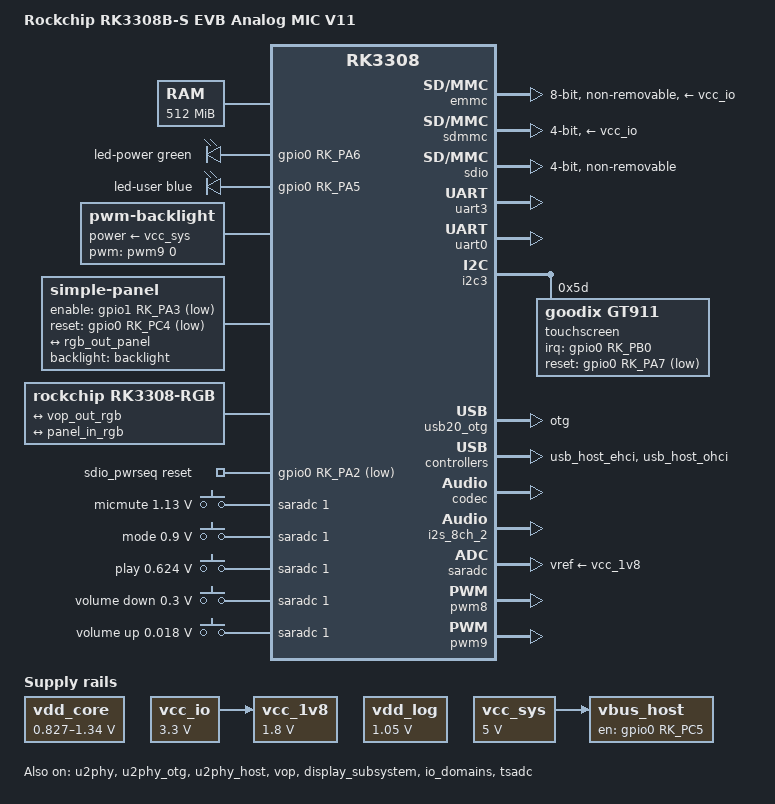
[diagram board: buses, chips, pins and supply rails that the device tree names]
// SPDX-License-Identifier: (GPL-2.0+ OR MIT)
/*
 * Device Tree Source for Rockchip RK3308B-S EVB Analog MIC V11
 *
 * Board connectors (as described by the owner):
 *   ┌─────────────────────────────────────────────────────────────────┐
 *   │  USB Type-C OTG    → ff400000 dwc2,  dr_mode = "otg"           │
 *   │  2× USB-A 5V host  → ff440000 EHCI + ff450000 OHCI             │
 *   │                      VBUS enable: GPIO0_C5 (active-high)        │
 *   │  24V power input   → external buck converter, no DTS needed     │
 *   │  LED +/−           → GPIO0_A6 (green/power), GPIO0_A5 (blue)   │
 *   │  3-pin RGB         → placeholder: see commented section below   │
 *   │  Serial + jumper   → UART3 @ 1500000 baud (ttyS3), OTG jumper  │
 *   │                      switches USB-C between ADB and serial mode  │
 *   │  40-pin FPC        → 4.3″ 480×272 RGB LCD via VOP               │
 *   │  FPC (remote)      → Goodix GT911 capacitive touch on I2C3      │
 *   │  microSD slot      → ff480000 SDMMC                             │
 *   └─────────────────────────────────────────────────────────────────┘
 *
 * GPIO CONFLICT NOTES (from factory DTS analysis):
 *   GPIO0_A2 is shared between WiFi reset (sdio-pwrseq) AND the
 *   headphone amp control (acodec hp-ctl-gpios) in the OEM firmware.
 *   This DTS disables hp-ctl-gpios to avoid the conflict; if you do
 *   not use WiFi, you can re-enable it.
 *
 *   GPIO0_A5 is shared between the blue heartbeat LED AND the speaker
 *   control (acodec spk-ctl-gpios). Speaker control is commented out
 *   below — enable it only if you remove the heartbeat LED trigger.
 */

/dts-v1/;
#include "rk3308.dtsi"
#include <dt-bindings/gpio/gpio.h>
#include <dt-bindings/input/linux-event-codes.h>
#include <dt-bindings/leds/common.h>
#include <dt-bindings/pinctrl/rockchip.h>
#include <dt-bindings/pwm/pwm.h>

/ {
	model = "Rockchip RK3308B-S EVB Analog MIC V11";
	compatible = "rockchip,rk3308bs-evb-amic-v11", "rockchip,rk3308";

	aliases {
		ethernet0 = &gmac;
		mmc0      = &emmc;
		mmc1      = &sdmmc;
		mmc2      = &sdio;
		serial0   = &uart0;
		serial1   = &uart1;
		serial2   = &uart2;
		serial3   = &uart3;
		serial4   = &uart4;
	};

	chosen {
		/*
		 * UART3 is the hardware debug serial port.
		 * The board has a jumper to switch this connector between
		 * normal serial (this stdout) and USB OTG mode.
		 */
		stdout-path = "serial3:1500000n8";
		bootargs = "earlycon=uart8250,mmio32,0xff0d0000 console=ttyS3,1500000n8 root=PARTUUID=614e0000-0000-4b53-8000-1d28000054a9 rootfstype=ext4 rw rootwait";
	};

	memory@0 {
		device_type = "memory";
		/*
		 * 512 MB — U-Boot/ATF will override this at boot time via
		 * FDT fixup, but a sane default is required by some paths.
		 * Change to 0x10000000 for 256 MB or 0x40000000 for 1 GB.
		 */
		reg = <0x00000000 0x00000000 0x00000000 0x20000000>;
	};

	/* ── CPU core voltage (PWM8 @ ff180000, inverted, 827–1340 mV) ── */
	vdd_core: vdd-core {
		compatible = "pwm-regulator";
		pwms = <&pwm8 0 5000 PWM_POLARITY_INVERTED>;
		regulator-name = "vdd_core";
		regulator-min-microvolt = <827000>;
		regulator-max-microvolt = <1340000>;
		regulator-init-microvolt = <1015000>;
		regulator-always-on;
		regulator-boot-on;
		regulator-settling-time-up-us = <250>;
	};

	/* ── Fixed voltage rails ──────────────────────────────────────── */
	vcc_io: vcc-io {
		compatible = "regulator-fixed";
		regulator-name = "vcc_io";
		regulator-always-on;
		regulator-boot-on;
		regulator-min-microvolt = <3300000>;
		regulator-max-microvolt = <3300000>;
	};

	vcc_1v8: vcc-1v8 {
		compatible = "regulator-fixed";
		regulator-name = "vcc_1v8";
		regulator-always-on;
		regulator-boot-on;
		regulator-min-microvolt = <1800000>;
		regulator-max-microvolt = <1800000>;
		vin-supply = <&vcc_io>;
	};

	vdd_log: vdd-log {
		compatible = "regulator-fixed";
		regulator-name = "vdd_log";
		regulator-always-on;
		regulator-boot-on;
		regulator-min-microvolt = <1050000>;
		regulator-max-microvolt = <1050000>;
	};

	vcc_sys: vcc-sys {
		compatible = "regulator-fixed";
		regulator-name = "vcc_sys";
		regulator-always-on;
		regulator-boot-on;
		regulator-min-microvolt = <5000000>;
		regulator-max-microvolt = <5000000>;
	};

	/* ── USB Host VBUS (GPIO0_C5, active-high) ──────────────────── */
	vbus_host: vbus-host {
		compatible = "regulator-fixed";
		enable-active-high;
		gpio = <&gpio0 RK_PC5 GPIO_ACTIVE_HIGH>;
		pinctrl-names = "default";
		pinctrl-0 = <&usb_drv>;
		vin-supply = <&vcc_sys>;
		regulator-name = "vbus_host";
		regulator-boot-on;
	};

	/* ── Onboard GPIO LEDs ────────────────────────────────────────── */
	/*
	 * Physical LED +/− connector on the board routes to these same GPIOs.
	 * NOTE: GPIO0_A5 (blue) is shared with the acodec speaker control in
	 * the OEM firmware. See spk-ctl-gpios comment in the &acodec section.
	 */
	leds: leds {
		compatible = "gpio-leds";
		pinctrl-names = "default";
		pinctrl-0 = <&led_green_gpio>, <&led_blue_gpio>;

		led-power {
			color = <LED_COLOR_ID_GREEN>;
			function = LED_FUNCTION_POWER;
			gpios = <&gpio0 RK_PA6 GPIO_ACTIVE_HIGH>;
			linux,default-trigger = "default-on";
			default-state = "on";
		};

		led-user {
			color = <LED_COLOR_ID_BLUE>;
			function = LED_FUNCTION_HEARTBEAT;
			gpios = <&gpio0 RK_PA5 GPIO_ACTIVE_HIGH>;
			linux,default-trigger = "heartbeat";
		};
	};

	/*
	 * ── 3-pin RGB connector placeholder ──────────────────────────────
	 *
	 * The board has a 3-pin RGB LED header. Three options:
	 *
	 * Option A — PWM-driven common-cathode RGB (PWM4/5/6 on GPIO0_A1,
	 *            GPIO0_B1, GPIO0_B2 respectively). Uncomment & enable the
	 *            matching &pwm4/5/6 nodes at the bottom of this file.
	 *
	 * rgb_leds: rgb-leds {
	 *     compatible = "pwm-leds";
	 *     led-red {
	 *         pwms = <&pwm4 0 10000 0>;
	 *         max-brightness = <255>;
	 *         color = <LED_COLOR_ID_RED>;
	 *     };
	 *     led-green {
	 *         pwms = <&pwm5 0 10000 0>;
	 *         max-brightness = <255>;
	 *         color = <LED_COLOR_ID_GREEN>;
	 *     };
	 *     led-blue {
	 *         pwms = <&pwm6 0 10000 0>;
	 *         max-brightness = <255>;
	 *         color = <LED_COLOR_ID_BLUE>;
	 *     };
	 * };
	 *
	 * Option B — WS2812/NeoPixel single-wire (needs SPI or dedicated driver).
	 * Option C — GPIO-only (add to gpio-leds above).
	 */

	/* ── LCD backlight (PWM9 @ ff180010) ─────────────────────────── */
	backlight: backlight {
		compatible = "pwm-backlight";
		pwms = <&pwm9 0 25000 0>;
		brightness-levels = <0 255>;
		num-interpolated-steps = <255>;
		default-brightness-level = <200>;
		power-supply = <&vcc_sys>;
	};

	/*
	 * ── 40-pin FPC: 4.3-inch 480×272 RGB LCD ──────────────────────
	 * Timings derived from factory DTS "timing3" (native-mode).
	 * enable-gpios: GPIO1_A3 active-low (PCB inverter on enable line)
	 * reset-gpios:  GPIO0_C4 active-low  (standard RST# active-low)
	 */
	panel: panel {
		compatible = "simple-panel";
		bus-format = <0x100a>;		/* MEDIA_BUS_FMT_RGB888_1X24 */
		backlight = <&backlight>;
		enable-gpios = <&gpio1 RK_PA3 GPIO_ACTIVE_LOW>;
		enable-delay-ms = <20>;
		reset-gpios = <&gpio0 RK_PC4 GPIO_ACTIVE_LOW>;
		reset-delay-ms = <10>;
		status = "okay";

		display-timings {
			native-mode = <&timing_4_3>;

			/* 4.3-inch 480×272 @ ~9 MHz — from factory DTS timing3 */
			timing_4_3: timing0 {
				clock-frequency = <9000000>;
				hactive      = <480>;
				vactive      = <272>;
				hback-porch  = <43>;
				hfront-porch = <8>;
				vback-porch  = <12>;
				vfront-porch = <8>;
				hsync-len    = <4>;
				vsync-len    = <4>;
				hsync-active    = <1>;
				vsync-active    = <1>;
				de-active       = <1>;
				pixelclk-active = <1>;
			};
		};

		port {
			panel_in_rgb: endpoint {
				remote-endpoint = <&rgb_out_panel>;
			};
		};
	};

	/*
	 * Internal RGB/LCDC output bridge (rockchip,rk3308-rgb).
	 * The active rk3308.dtsi does not define an `rgb` label, so this node
	 * must be declared inline for vop -> rgb -> panel routing.
	 */
	rgb: rgb {
		compatible = "rockchip,rk3308-rgb";
		status = "okay";
		pinctrl-names = "default";
		pinctrl-0 = <&lcdc_ctl>, <&lcdc_rgb888_m0>;

		ports {
			#address-cells = <1>;
			#size-cells = <0>;

			port@0 {
				reg = <0>;
				#address-cells = <1>;
				#size-cells = <0>;

				rgb_in_vop: endpoint@0 {
					reg = <0>;
					remote-endpoint = <&vop_out_rgb>;
				};
			};

			port@1 {
				reg = <1>;

				rgb_out_panel: endpoint {
					remote-endpoint = <&panel_in_rgb>;
				};
			};
		};
	};

	/* ── WiFi power-sequence (RTL8189CS on SDIO) ─────────────────── */
	sdio_pwrseq: sdio-pwrseq {
		compatible = "mmc-pwrseq-simple";
		pinctrl-names = "default";
		pinctrl-0 = <&wifi_enable_h>;
		/* GPIO0_A2 active-low: WiFi chip RESET# */
		reset-gpios = <&gpio0 RK_PA2 GPIO_ACTIVE_LOW>;
		post-power-on-delay-ms = <200>;
	};

	/* ── ADC buttons (SAR-ADC ch1) ────────────────────────────────── */
	adc-keys {
		compatible = "adc-keys";
		io-channels = <&saradc 1>;
		io-channel-names = "buttons";
		poll-interval = <100>;
		keyup-threshold-microvolt = <1800000>;

		key-micmute {
			linux,code = <KEY_MICMUTE>;
			label = "micmute";
			press-threshold-microvolt = <1130000>;
		};
		key-mode {
			linux,code = <KEY_MODE>;
			label = "mode";
			press-threshold-microvolt = <900000>;
		};
		key-play {
			linux,code = <KEY_PLAYPAUSE>;
			label = "play";
			press-threshold-microvolt = <624000>;
		};
		key-vol-down {
			linux,code = <KEY_VOLUMEDOWN>;
			label = "volume down";
			press-threshold-microvolt = <300000>;
		};
		key-vol-up {
			linux,code = <KEY_VOLUMEUP>;
			label = "volume up";
			press-threshold-microvolt = <18000>;
		};
	};
};

/*
 * ── RK3308BS: CPU OPP cap at 1104 MHz ────────────────────────────────
 * The BS variant cannot run at the 1200/1296 MHz OPPs of standard RK3308.
 */
&cpu0_opp_table {
	/delete-node/ opp-1200000000;
	/delete-node/ opp-1296000000;

	/* RK3308BS maximum operating point */
	opp-1104000000 {
		opp-hz = /bits/ 64 <1104000000>;
		opp-microvolt = <1200000 1200000 1200000>;
		clock-latency-ns = <40000>;
	};
};

/* ── eMMC (8-bit HS200, non-removable) ───────────────────────────────── */
&emmc {
	bus-width = <8>;
	cap-mmc-highspeed;
	mmc-hs200-1_8v;
	non-removable;
	no-sdio;
	no-sd;
	disable-wp;
	num-slots = <1>;
	vmmc-supply  = <&vcc_io>;
	vqmmc-supply = <&vcc_1v8>;
	status = "okay";
};

/* ── microSD card slot ────────────────────────────────────────────────── */
&sdmmc {
	bus-width = <4>;
	cap-sd-highspeed;
	supports-sd;
	disable-wp;
	vmmc-supply = <&vcc_io>;
	status = "okay";
};

/* ── SDIO — WiFi RTL8189CS ────────────────────────────────────────────── */
&sdio {
	bus-width = <4>;
	cap-sd-highspeed;
	cap-sdio-irq;
	keep-power-in-suspend;
	non-removable;
	supports-sdio;
	mmc-pwrseq = <&sdio_pwrseq>;
	rockchip,default-sample-phase = <90>;
	max-frequency = <50000000>;
	status = "okay";
};

/* ── UART3: debug/console serial port ────────────────────────────────── */
&uart3 {
	status = "okay";
};

/* ── UART0: Bluetooth (with hardware flow control) ────────────────────── */
&uart0 {
	pinctrl-names = "default";
	pinctrl-0 = <&uart0_xfer>, <&uart0_rts>, <&uart0_cts>;
	status = "okay";
};

/*
 * ── I2C3: Goodix GT911 capacitive touch (remote ribbon cable) ──────────
 * Keep GPIO semantics aligned with the factory tree to avoid probe issues.
 */
&i2c3 {
	status = "okay";
	pinctrl-names = "default";
	pinctrl-0 = <&i2c3m0_xfer>;

	touchscreen@5d {
		compatible = "goodix,gt911";
		reg = <0x5d>;
		interrupt-parent = <&gpio0>;
		interrupts = <RK_PB0 IRQ_TYPE_EDGE_RISING>;
		irq-gpios   = <&gpio0 RK_PB0 4>;
		reset-gpios = <&gpio0 RK_PA7 GPIO_ACTIVE_LOW>;
		touchscreen-size-x = <800>;
		touchscreen-size-y = <480>;
		max-x = <800>;
		max-y = <480>;
		tp-size = <109>;
		status = "okay";
	};
};

/* ── USB Type-C OTG port (dwc2 ff400000) ─────────────────────────────── */
&usb20_otg {
	dr_mode = "otg";
	status = "okay";
};

/* ── USB Host EHCI (first of 2× USB-A 5V ports) ──────────────────────── */
&usb_host_ehci {
	status = "okay";
};

/* ── USB Host OHCI (second of 2× USB-A 5V ports) ─────────────────────── */
&usb_host_ohci {
	status = "okay";
};

/* ── USB 2.0 PHY ──────────────────────────────────────────────────────── */
&u2phy {
	status = "okay";
};

&u2phy_otg {
	status = "okay";
};

&u2phy_host {
	phy-supply = <&vbus_host>;
	status = "okay";
};

/* ── Display: VOP -> RGB bridge -> panel ────────────────────────────────── */
&vop {
	status = "okay";
};

&vop_out {
	#address-cells = <1>;
	#size-cells = <0>;

	vop_out_rgb: endpoint@0 {
		reg = <0>;
		remote-endpoint = <&rgb_in_vop>;
	};
};

&display_subsystem {
	status = "okay";
};

/*
 * ── Internal RK3308 codec (analog MIC + headphone + speaker) ───────────
 * spk-ctl-gpios on GPIO0_A5 and hp-ctl-gpios on GPIO0_A2 are omitted due to
 * LED / WiFi GPIO conflicts (see header comments).
 */
&codec {
	rockchip,no-deep-low-power;
	rockchip,micbias1;
	rockchip,micbias2;
	status = "okay";
	#sound-dai-cells = <0>;
};

&i2s_8ch_2 {
	status = "okay";
};

/ {
	analog_sound: analog-sound {
		compatible = "simple-audio-card";
		simple-audio-card,format = "i2s";
		simple-audio-card,name = "rockchip,rk3308-acodec";
		simple-audio-card,mclk-fs = <256>;
		simple-audio-card,codec-hp-det;
		simple-audio-card,widgets = "Headphone", "Headphones";

		simple-audio-card,dai-link@0 {
			format = "i2s";

			cpu {
				sound-dai = <&i2s_8ch_2>;
			};

			codec {
				sound-dai = <&codec>;
			};
		};
	};
};

/* ── IO voltage domains ────────────────────────────────────────────────── */
&io_domains {
	vccio0-supply = <&vcc_io>;
	vccio1-supply = <&vcc_io>;
	vccio2-supply = <&vcc_io>;
	vccio3-supply = <&vcc_1v8>;	/* eMMC interface at 1.8 V */
	vccio4-supply = <&vcc_io>;
	vccio5-supply = <&vcc_io>;
	status = "okay";
};

/* ── Thermal shutdown / throttle ─────────────────────────────────────── */
&tsadc {
	compatible = "rockchip,rk3308bs-tsadc";
	rockchip,hw-tshut-temp   = <120000>;
	rockchip,hw-tshut-mode     = <0>;	/* mode 0 = CRU reset */
	rockchip,hw-tshut-polarity = <1>;	/* active-high */
	status = "okay";
};

/ {
	rockchip-system-monitor {
		compatible = "rockchip,system-monitor";
		rockchip,thermal-zone = "soc-thermal";
		rockchip,polling-delay = <200>;
	};

	thermal-zones {
		soc-thermal {
			polling-delay-passive = <20>;
			polling-delay = <1000>;
			sustainable-power = <360>;
			thermal-sensors = <&tsadc 0>;

			trips {
				soc_passive: trip-point@0 {
					temperature = <70000>;
					hysteresis = <2000>;
					type = "passive";
				};

				soc_alert: trip-point@1 {
					temperature = <85000>;
					hysteresis = <2000>;
					type = "passive";
				};

				soc_crit: soc-crit {
					temperature = <115000>;
					hysteresis = <2000>;
					type = "critical";
				};
			};

			cooling-maps {
				map0 {
					trip = <&soc_alert>;
					cooling-device = <&cpu0 0xffffffff 0xffffffff>;
					contribution = <1000>;
				};
			};
		};

		gpu-thermal {
			polling-delay-passive = <100>;
			polling-delay = <1000>;
			thermal-sensors = <&tsadc 1>;
		};
	};
};

/* ── SAR ADC (ADC key buttons on channel 1) ──────────────────────────── */
&saradc {
	vref-supply = <&vcc_1v8>;
	status = "okay";
};

/* ── PWM8 (ff180000) — CPU VDD core regulator ─────────────────────────── */
&pwm8 {
	status = "okay";
	pinctrl-names = "active";
	pinctrl-0 = <&pwm8_pin_pull_down>;
};

/* ── PWM9 (ff180010) — LCD backlight ──────────────────────────────────── */
&pwm9 {
	status = "okay";
	pinctrl-names = "active";
	pinctrl-0 = <&pwm9_pin>;
};

/*
 * ── PWM4/5/6 (ff170000–010–020) — optional RGB LED connector ───────────
 * Uncomment these if using PWM-driven RGB LED on the 3-pin connector.
 * Also uncomment the rgb_leds node in the root node above.
 *
 * &pwm4 { status = "okay"; };
 * &pwm5 { status = "okay"; };
 * &pwm6 { status = "okay"; };
 */

/* ── Pinctrl: board-specific pin assignments ─────────────────────────── */
&pinctrl {
	usb {
		/* GPIO0_C5 = USB host VBUS enable */
		usb_drv: usb-drv {
			rockchip,pins = <0 RK_PC5 RK_FUNC_GPIO &pcfg_pull_none>;
		};
	};

	sdio-pwrseq {
		/* GPIO0_A2 = WiFi RESET# (active-low) */
		wifi_enable_h: wifi-enable-h {
			rockchip,pins = <0 RK_PA2 RK_FUNC_GPIO &pcfg_pull_none>;
		};
	};

	wireless-wlan {
		/* GPIO0_A0 = WiFi WAKE_HOST interrupt */
		wifi_wake_host: wifi-wake-host {
			rockchip,pins = <0 RK_PA0 RK_FUNC_GPIO &pcfg_pull_down>;
		};
	};

	leds {
		led_green_gpio: led-green-gpio {
			rockchip,pins = <0 RK_PA6 RK_FUNC_GPIO &pcfg_pull_none>;
		};
		led_blue_gpio: led-blue-gpio {
			rockchip,pins = <0 RK_PA5 RK_FUNC_GPIO &pcfg_pull_none>;
		};
	};
};
